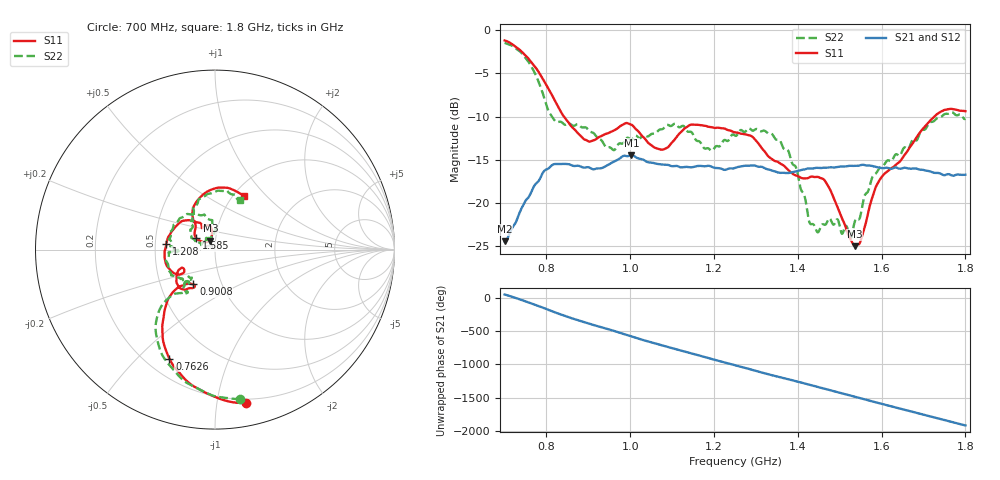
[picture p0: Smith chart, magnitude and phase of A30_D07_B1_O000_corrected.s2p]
! Created with skrf 1.9.0 (http://scikit-rf.org).
# Hz S RI R 50.0
!freq ReS11 ImS11 ReS21 ImS21 ReS12 ImS12 ReS22 ImS22
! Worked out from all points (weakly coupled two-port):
!   1601 points, 700 MHz to 1.8 GHz, reference 50 ohm
!   highest |S21| = -14.46 dB at 1.002 GHz (marker M1); lowest = -24.4 dB at 700 MHz (marker M2)
!   lowest |S11| = -25.0 dB at 1.536 GHz (marker M3), VSWR 1.12, Z = 47.3 + j4.77 ohm
!   |S11| at or under -10 dB: 841.7 MHz to 1.725 GHz (883.7 MHz wide, 68.8 % of centre)
!   |S22| runs from -24.1 to -1.5 dB; largest |S21 - S12| = 0.0035
!   S11 on the Smith chart (normalised r, x): 700 MHz: 0.17, -1.21; 762.6 MHz: 0.29, -0.63; 900.8 MHz: 0.73, -0.30; 1.208 GHz: 0.57, +0.04; 1.585 GHz: 0.80, +0.10; 1.8 GHz: 1.12, +0.76
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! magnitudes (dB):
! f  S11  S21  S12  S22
! 700 MHz  -1.2  -24.4  -24.2  -1.5
! 762.6 MHz  -3.6  -18.8  -18.8  -4.1
! 818.2 MHz  -7.9  -15.5  -15.6  -10.4
! 883.6 MHz  -12.3  -15.8  -15.7  -11.2
! 900.8 MHz  -12.9  -15.9  -15.9  -11.6
! 959.2 MHz  -11.6  -15.2  -15.2  -13.9
! 1.002 GHz  -10.9  -14.5  -14.6  -12.7
! 1.067 GHz  -13.7  -15.5  -15.4  -11.6
! 1.143 GHz  -11.0  -15.9  -15.9  -11.7
! 1.208 GHz  -11.3  -15.9  -16.0  -13.4
! 1.25 GHz  -11.8  -15.9  -15.9  -12.2
! 1.357 GHz  -15.4  -16.5  -16.4  -12.7
! 1.396 GHz  -16.8  -16.3  -16.3  -15.9
! 1.434 GHz  -16.9  -16.0  -16.0  -22.4
! 1.469 GHz  -17.7  -15.9  -15.9  -22.3
! 1.526 GHz  -24.2  -15.7  -15.7  -24.1
! 1.536 GHz  -25.0  -15.7  -15.7  -22.1
! 1.55 GHz  -24.3  -15.6  -15.6  -21.2
! 1.585 GHz  -18.2  -15.8  -15.8  -16.6
! 1.617 GHz  -16.2  -16.0  -15.9  -15.1
! 1.733 GHz  -9.7  -16.5  -16.5  -10.2
! 1.8 GHz  -9.4  -16.7  -16.7  -10.3
